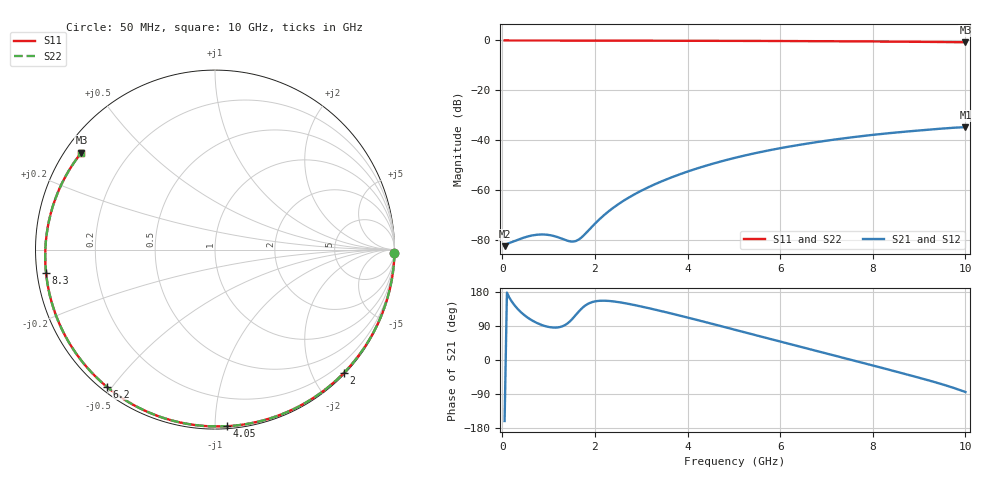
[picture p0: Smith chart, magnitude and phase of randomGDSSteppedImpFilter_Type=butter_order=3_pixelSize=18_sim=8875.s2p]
! freq	dB(S11)	phase(S11)	dB(S12)	phase(S12)
!  dB(S21)	phase(S21)	dB(S22)	phase(S22)
!S-par simulation data
#  GHz  S  DB  R 50
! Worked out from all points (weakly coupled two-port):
!   200 points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, 50 MHz to 10 GHz, reference 50 ohm
!   highest |S21| = -34.73 dB at 10 GHz (marker M1); lowest = -82.4 dB at 50 MHz (marker M2)
!   lowest |S11| = -0.7 dB at 10 GHz (marker M3), VSWR 23.96, Z = 2.31 + j16.2 ohm
!   |S11| at or under -10 dB: nowhere
!   |S22| runs from -0.7 to 0.0 dB; largest |S21 - S12| = 0
!   S11 on the Smith chart (normalised r, x): 50 MHz: open; 2 GHz: 0.02, -2.49; 4.05 GHz: 0.01, -1.07; 6.2 GHz: 0.02, -0.48; 8.3 GHz: 0.03, -0.07; 10 GHz: 0.05, +0.32
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0.05  -0.00 -1.1  -82.37 -161.0  -82.37 -161.0  -0.00 -1.1
0.3  -0.00 -6.7  -80.07 139.2  -80.07 139.2  -0.00 -6.7
0.6  -0.01 -13.3  -78.25 107.6  -78.25 107.6  -0.01 -13.3
0.85  -0.02 -18.9  -77.69 92.4  -77.69 92.4  -0.02 -18.9
1.1  -0.03 -24.3  -78.23 85.6  -78.23 85.6  -0.03 -24.3
1.4  -0.04 -30.8  -80.14 95.8  -80.14 95.8  -0.04 -30.8
1.6  -0.04 -35.2  -80.23 120.7  -80.23 120.7  -0.04 -35.2
1.75  -0.05 -38.4  -78.20 139.8  -78.20 139.8  -0.05 -38.4
2  -0.06 -43.7  -73.38 154.6  -73.38 154.6  -0.06 -43.7
2.3  -0.06 -50.1  -68.37 155.9  -68.37 155.9  -0.06 -50.1
2.6  -0.07 -56.4  -64.40 150.9  -64.40 150.9  -0.07 -56.4
2.95  -0.08 -63.7  -60.66 142.5  -60.66 142.5  -0.08 -63.7
3.4  -0.10 -72.9  -56.73 130.0  -56.73 130.0  -0.10 -72.9
4.05  -0.12 -86.0  -52.19 110.5  -52.19 110.5  -0.12 -86.0
5.05  -0.16 -105.8  -46.88 79.0  -46.88 79.0  -0.16 -105.8
6.2  -0.24 -128.3  -42.48 42.4  -42.48 42.4  -0.24 -128.3
6.7  -0.27 -138.3  -40.96 26.6  -40.96 26.6  -0.28 -138.3
7.55  -0.36 -155.8  -38.78 -0.1  -38.78 -0.1  -0.36 -155.8
8.3  -0.44 -172.2  -37.22 -24.0  -37.22 -24.0  -0.44 -172.2
8.35  -0.45 -173.3  -37.13 -25.6  -37.13 -25.6  -0.45 -173.3
9.2  -0.57 166.1  -35.73 -53.5  -35.73 -53.5  -0.57 166.1
10  -0.73 144.0  -34.73 -84.4  -34.73 -84.4  -0.73 144.0
